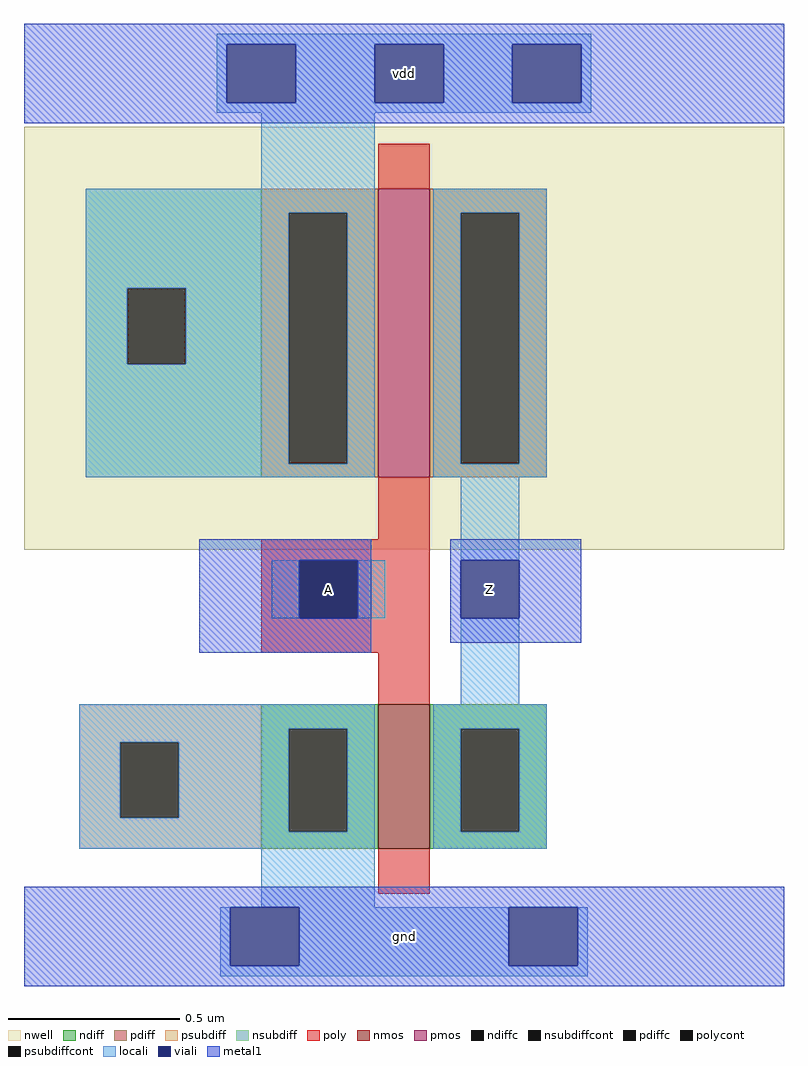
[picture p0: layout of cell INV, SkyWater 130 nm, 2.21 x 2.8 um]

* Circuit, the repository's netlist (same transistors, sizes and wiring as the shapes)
* NGSPICE file created from INV.ext - technology: sky130A
.subckt INV A Z vdd gnd
X0 Z A gnd gnd sky130_fd_pr__nfet_01v8 ad=1.428e+11p pd=1.52e+06u as=1.428e+11p ps=1.52e+06u w=420000u l=150000u
X1 Z A vdd vdd sky130_fd_pr__pfet_01v8 ad=2.856e+11p pd=2.36e+06u as=2.856e+11p ps=2.36e+06u w=840000u l=150000u
.ends

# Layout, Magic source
magic
tech sky130A
<< nwell >>
rect -103 -13 118 110
<< nmos >>
rect 0 -100 15 -58
<< pmos >>
rect 0 8 15 92
<< ndiff >>
rect -34 -65 0 -58
rect -34 -95 -26 -65
rect -9 -95 0 -65
rect -34 -100 0 -95
rect 15 -65 49 -58
rect 15 -95 24 -65
rect 41 -95 49 -65
rect 15 -100 49 -95
<< pdiff >>
rect -34 85 0 92
rect -34 12 -26 85
rect -9 12 0 85
rect -34 8 0 12
rect 15 85 49 92
rect 15 12 24 85
rect 41 12 49 85
rect 15 8 49 12
<< ndiffc >>
rect -26 -95 -9 -65
rect 24 -95 41 -65
<< pdiffc >>
rect -26 12 -9 85
rect 24 12 41 85
<< psubdiff >>
rect -87 -69 -34 -58
rect -87 -91 -75 -69
rect -58 -91 -34 -69
rect -87 -100 -34 -91
<< nsubdiff >>
rect -85 63 -34 92
rect -85 41 -73 63
rect -56 41 -34 63
rect -85 8 -34 41
<< psubdiffcont >>
rect -75 -91 -58 -69
<< nsubdiffcont >>
rect -73 41 -56 63
<< poly >>
rect 0 92 15 105
rect 0 -10 15 8
rect -34 -16 15 -10
rect -34 -33 -23 -16
rect -6 -33 15 -16
rect -34 -43 15 -33
rect 0 -58 15 -43
rect 0 -113 15 -100
<< polycont >>
rect -23 -33 -6 -16
<< locali >>
rect -47 134 62 137
rect -47 117 -44 134
rect -24 117 -1 134
rect 19 117 39 134
rect 59 117 62 134
rect -47 114 62 117
rect -34 92 -1 114
rect -85 85 -1 92
rect -85 63 -26 85
rect -85 41 -73 63
rect -56 41 -26 63
rect -85 12 -26 41
rect -9 12 -1 85
rect -85 8 -1 12
rect 16 85 49 92
rect 16 12 24 85
rect 41 12 49 85
rect 16 8 49 12
rect 24 -16 41 8
rect -31 -33 -23 -16
rect -6 -33 2 -16
rect 24 -58 41 -33
rect -87 -65 -1 -58
rect -87 -69 -26 -65
rect -87 -91 -75 -69
rect -58 -91 -26 -69
rect -87 -95 -26 -91
rect -9 -95 -1 -65
rect -87 -100 -1 -95
rect 16 -65 49 -58
rect 16 -95 24 -65
rect 41 -95 49 -65
rect 16 -100 49 -95
rect -34 -117 -1 -100
rect -46 -134 -43 -117
rect -23 -134 38 -117
rect 58 -134 61 -117
rect -46 -137 61 -134
<< viali >>
rect -44 117 -24 134
rect -1 117 19 134
rect 39 117 59 134
rect -23 -33 -6 -16
rect 24 -33 41 -16
rect -43 -134 -23 -117
rect 38 -134 58 -117
<< metal1 >>
rect -103 134 118 140
rect -103 117 -44 134
rect -24 117 -1 134
rect 19 117 39 134
rect 59 117 118 134
rect -103 111 118 117
rect -52 -16 -2 -10
rect -52 -33 -23 -16
rect -6 -33 -2 -16
rect -52 -43 -2 -33
rect 21 -16 59 -10
rect 21 -33 24 -16
rect 41 -33 59 -16
rect 21 -40 59 -33
rect -103 -117 118 -111
rect -103 -134 -43 -117
rect -23 -134 38 -117
rect 58 -134 118 -117
rect -103 -140 118 -134
<< labels >>
rlabel metal1 -103 -140 118 -111 1 gnd
port 4 n
rlabel metal1 -103 111 118 140 1 vdd
port 3 n
rlabel viali 24 -33 41 -16 1 Z
port 2 n
rlabel metal1 -23 -33 -6 -16 1 A
port 1 n
<< end >>
